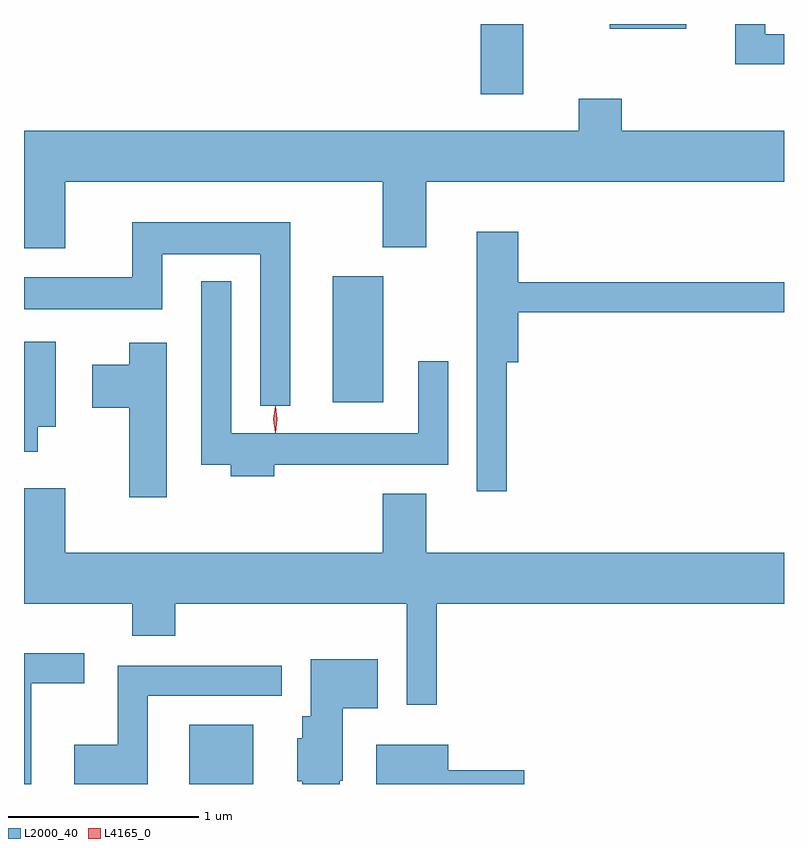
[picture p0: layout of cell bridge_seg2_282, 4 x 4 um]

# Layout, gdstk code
import gdstk
lib = gdstk.Library(unit=1e-6, precision=1e-09)
def R(c, l, rs):  # rectangles x0, y0, x1, y1
    for r in rs: c.add(gdstk.rectangle(r[:2], r[2:], *l))
def P(c, l, *ps):  # polygons
    for p in ps: c.add(gdstk.Polygon(p, *l))
L2000_40 = (2000, 40)
L4165_0 = (4165, 0)

bridge_seg2_282 = lib.new_cell('bridge_seg2_282')
R(bridge_seg2_282, L2000_40, [(583.021,1049.587,583.359,1049.899), (583.776,1051.596,584.044,1052.259), (584.556,1053.216,584.779,1053.587), (585.236,1053.561,585.638,1053.587)])
P(bridge_seg2_282, L2000_40, [(586.152,1053.534),(586.054,1053.534),(586.054,1053.587),(585.896,1053.587),(585.896,1053.376),(586.152,1053.376)],
  [(582.369,1052.756),(584.041,1052.756),(584.041,1052.411),(584.269,1052.411),(584.269,1052.756),(586.152,1052.756),(586.152,1053.024),(585.299,1053.024),(585.299,1053.194),(585.071,1053.194),(585.071,1053.024),(582.152,1053.024),(582.152,1052.406),(582.369,1052.406)],
  [(583.554,1052.544),(582.721,1052.544),(582.721,1052.254),(582.152,1052.254),(582.152,1052.086),(582.879,1052.086),(582.879,1052.376),(583.396,1052.376),(583.396,1051.578),(583.554,1051.578)],
  [(584.694,1051.806),(584.754,1051.806),(584.754,1052.071),(586.152,1052.071),(586.152,1052.229),(584.754,1052.229),(584.754,1052.494),(584.536,1052.494),(584.536,1051.128),(584.694,1051.128)],
  [(583.469,1051.266),(584.384,1051.266),(584.384,1051.813),(584.226,1051.813),(584.226,1051.434),(583.244,1051.434),(583.244,1052.233),(583.086,1052.233),(583.086,1051.266),(583.241,1051.266),(583.241,1051.206),(583.469,1051.206)],
  [(582.224,1051.466),(582.319,1051.466),(582.319,1051.914),(582.152,1051.914),(582.152,1051.336),(582.224,1051.336)],
  [(582.904,1051.909),(582.706,1051.909),(582.706,1051.794),(582.511,1051.794),(582.511,1051.566),(582.706,1051.566),(582.706,1051.096),(582.904,1051.096)],
  [(584.324,1050.536),(586.152,1050.536),(586.152,1050.804),(584.269,1050.804),(584.269,1051.114),(584.041,1051.114),(584.041,1050.804),(582.369,1050.804),(582.369,1051.144),(582.152,1051.144),(582.152,1050.536),(582.721,1050.536),(582.721,1050.366),(582.949,1050.366),(582.949,1050.536),(584.166,1050.536),(584.166,1050.003),(584.324,1050.003)],
  [(582.189,1050.116),(582.468,1050.116),(582.468,1050.274),(582.152,1050.274),(582.152,1049.587),(582.189,1049.587)],
  [(583.814,1049.605),(583.829,1049.605),(583.829,1049.986),(584.014,1049.986),(584.014,1050.244),(583.661,1050.244),(583.661,1049.944),(583.616,1049.944),(583.616,1049.829),(583.591,1049.829),(583.591,1049.601),(583.616,1049.601),(583.616,1049.587),(583.814,1049.587)],
  [(582.804,1050.051),(583.508,1050.051),(583.508,1050.209),(582.646,1050.209),(582.646,1049.794),(582.416,1049.794),(582.416,1049.587),(582.804,1049.587)],
  [(584.784,1049.659),(584.384,1049.659),(584.384,1049.794),(584.006,1049.794),(584.006,1049.587),(584.784,1049.587)])
P(bridge_seg2_282, L4165_0, [(583.474,1051.437),(583.465,1051.507),(583.474,1051.576),(583.475,1051.576),(583.476,1051.576),(583.485,1051.507),(583.476,1051.437),(583.475,1051.437)],
  [(583.475,1051.439),(583.474,1051.44),(583.465,1051.506),(583.474,1051.572),(583.475,1051.573),(583.476,1051.572),(583.485,1051.506),(583.476,1051.44)])

lib.write_gds('bridge_seg2_282.gds')
